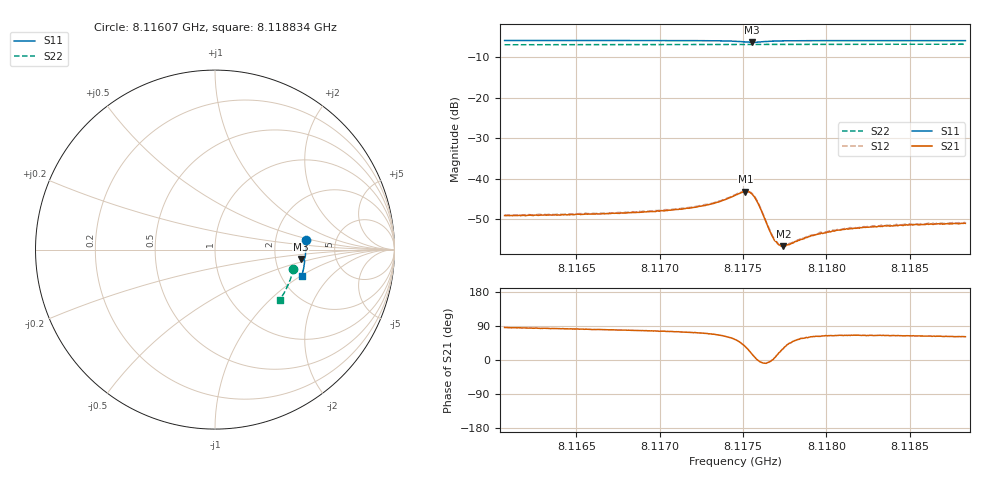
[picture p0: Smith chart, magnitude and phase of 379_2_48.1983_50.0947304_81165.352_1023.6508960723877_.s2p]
#  HZ  S  RI  R  50.00
! Rohde & Schwarz Vector Network Analyzer
! Rohde-Schwarz,ZNB20-2Port,1311601062101988,3.16
! Created: UTC 3/20/2024, 11:53:02 AM
! freq[Hz]  re:S11  im:S11  re:S21  im:S21  re:S12  im:S12  re:S22  im:S22
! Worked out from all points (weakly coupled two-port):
!   401 points, 8.11607 GHz to 8.118834 GHz, reference 50 ohm
!   highest |S21| = -43.16 dB at 8.117514 GHz (marker M1); lowest = -56.6 dB at 8.117742 GHz (marker M2)
!   lowest |S11| = -6.4 dB at 8.117555 GHz (marker M3), VSWR 2.85, Z = 140 - j18.9 ohm
!   |S11| at or under -10 dB: nowhere
!   |S22| runs from -7.0 to -6.8 dB; largest |S21 - S12| = 0.00019
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8.1160698e9  0.5044 0.053  0.000254 0.0035  0.000331 0.00354  0.4362 -0.1059
8.1165327e9  0.5062 0.0181  0.000545 0.0036  0.00063 0.00367  0.4287 -0.1372
8.1169957e9  0.5054 -0.0175  0.000984 0.00385  0.001 0.00396  0.4188 -0.1678
8.1171615e9  0.5039 -0.0311  0.00125 0.00415  0.0013 0.00417  0.4148 -0.1788
8.1172859e9  0.5018 -0.0421  0.00163 0.00447  0.00169 0.00453  0.4116 -0.1868
8.1173757e9  0.4987 -0.0509  0.00232 0.00484  0.00241 0.00491  0.4092 -0.1927
8.1174517e9  0.4923 -0.0584  0.00366 0.00506  0.00376 0.0051  0.4067 -0.1976
8.1175139e9  0.4819 -0.0596  0.00568 0.00401  0.00582 0.00402  0.4045 -0.2013
8.1175346e9  0.4787 -0.0567  0.00621 0.00296  0.00631 0.00295  0.4037 -0.2025
8.1175554e9  0.4776 -0.0522  0.00621 0.00163  0.00632 0.00162  0.4033 -0.2034
8.1175692e9  0.4784 -0.0491  0.00588 0.000805  0.00599 0.000736  0.4029 -0.2042
8.1175899e9  0.4818 -0.046  0.00499 -9.05e-05  0.00508 -0.000139  0.4026 -0.2053
8.117659e9  0.4934 -0.0486  0.00229 -0.000197  0.00236 -0.000237  0.4011 -0.2097
8.1176866e9  0.4958 -0.0519  0.00176 0.000142  0.00185 0.000137  0.4004 -0.2116
8.1177074e9  0.4969 -0.0544  0.00153 0.000399  0.00156 0.000405  0.3999 -0.2128
8.1177212e9  0.4975 -0.056  0.00142 0.000548  0.00145 0.000565  0.3994 -0.2138
8.1177419e9  0.4981 -0.0584  0.00127 0.000742  0.00134 0.00076  0.399 -0.2152
8.1179147e9  0.4986 -0.0754  0.000949 0.00175  0.000967 0.00179  0.3933 -0.2262
8.1179699e9  0.498 -0.0802  0.000968 0.00191  0.000967 0.00194  0.3916 -0.2297
8.1181081e9  0.4963 -0.0914  0.001 0.00215  0.00105 0.0022  0.3869 -0.2383
8.1183776e9  0.4922 -0.1119  0.00114 0.00235  0.0012 0.00241  0.3773 -0.2545
8.1188336e9  0.4832 -0.1451  0.00135 0.00248  0.00138 0.00252  0.3597 -0.2811
